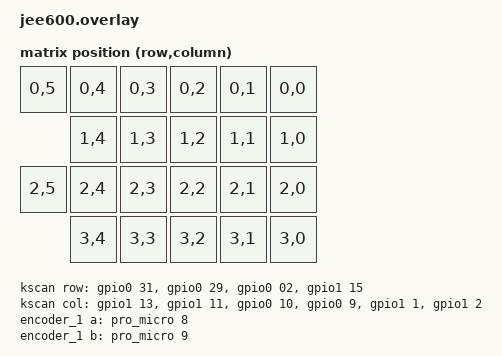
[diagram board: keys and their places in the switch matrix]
/*
 * Copyright (c) 2025 The ZMK Contributors
 *
 * SPDX-License-Identifier: MIT
 */

//================================================================================
//
//                           V-     USB     V+                      
//              D1   P0.06  PD3             RAW                     
//              D0   P0.08  PD2 L1       L2 GND                     
//                          GND             RST                     
//  encoder1_3              GND             VCC  P0.13+             
//              D2   P0.17  PD1  Nice!Nano  PF4  P0.31   D21        ROW 0
//  MOSI/MISO   D3   P0.20  PD0   v2 clone  PF5  P0.29   D20        ROW 1
//  SCK         D4   P0.22  PD4  (top view) PF6  P0.02   D19        ROW 2
//  CS          D5   P0.24  PC6             PF7  P1.15   D18        ROW 3
//  MOT         D6   P1.00  PD7             PB1  P1.13   D15        COL 0
//              D7   P0.11  PE6             PB3  P1.11   D14        COL 1
//  encoder1_1  D8   P1.04  PB4    O O O    PB2  P0.10   D16        COL 2
//  encoder1_2  D9   P1.06  PB5    | | |    PB6  P0.09   D10        COL 3
//                                 | | |                            
//                   P1.01     ____| | |    &gpio1 1                COL 4
//                   P1.02     ______| |    &gpio1 2                COL 5
//                   P1.07     ________|    &gpio1 7                
//  L1 (LED1)        P0.15                                          
//  L2 (LED2)        charging                                       
//  SET HIGH TO OFF  P0.13+                                         
//
// According to: https://www.reddit.com/r/olkb/comments/17w0opn/nicenano_pinout/
// MOSI, SCK must be on high-frequency pins (D1-D7), while CS may be on any pin
//
//     PWM3610 Module 20240425
//     https://www.aliexpress.com/item/1005006913778101.html
//
//                             
//                         , - + + + - ,
//                     , '       o       ' ,
//                   ,        +-----+        ,
//                  ,SDIO-O   | PWM |         ,      A - VDDIO  
//                 , SCLK-O   | 361 |     A B  ,     B - GND    
//                 ,  NCS-O   | 0DM |     C D  ,     C - VDD    (1.7 - 6V input)
//                 , NRES-O   | SUD |          ,     D - GND    
//                  , MOT-O   |  U  |         ,
//                   ,        +-----+        ,
//                     ,         o        , '
//                       ' - , _ _ _ ,  '
//
//  According to https://www.reddit.com/r/ErgoMechKeyboards/comments/1h0zy8n/help_which_nicenane_pins_to_connect_to_this/
//  SDIO - main IO pin (MOSI/MISO)
//  SCLK - SCK
//  NCS  - cs-gpios
//  MOT  - irq-gpios
//
//
//        Encoder (metal outer shell forward, clips backward)
//
//        _______
//       |3332 2 |
//      |33      2|
//      |3   O    |
//      |1       2|
//      |__1_1_1__|
//        |  |  |
// GND ___|  |  |         constant
// 1   ______|  |    D8   alternating
// 2   _________|    D9   alternating
//
//
//  Side panel (outside view):                                                   5 4 3 2 1 0
//                                                                               ___________
//                        [A]:c2r0   [B]:c1r0   [C]:c0r0                      0 |v w x A B C     v: RMB
//             [D]:c4r1   [E]:c3r1   [F]:c2r1   [G]:c1r1   [H]:c0r1      -\   1 |y D E F G H     w: MMB (button)
//  [I]:c5r2   [J]:c4r2   [K]:c3r2   [L]:c2r2   [M]:c1r2   [N]:c0r2      -/   2 |I J K L M N     x: LMB
//  [O]:c4r3   [P]:c3r3   [Q]:c2r3   [R]:c1r3   [S]:c0r3                      3 |z O P Q R S     y: MMB (wheel)
//                                                                                               z: _
//
//  row 0: P0.31   col 0: P1.13   col 4: P1.01
//  row 1: P0.29   col 1: P1.11   col 5: P1.02
//  row 2: P0.02   col 2: P0.10
//  row 3: P1.15   col 3: P0.09
//
//================================================================================

#include <dt-bindings/zmk/matrix_transform.h>

#define INPUT_EV_KEY 0x01               /**< Key event */
#define INPUT_EV_REL 0x02               /**< Relative coordinate event */
#define INPUT_EV_ABS 0x03               /**< Absolute coordinate event */
#define INPUT_EV_MSC 0x04               /**< Miscellaneous event */
#define INPUT_EV_VENDOR_START 0xf0      /**< Vendor specific event start */
#define INPUT_EV_VENDOR_STOP 0xff       /**< Vendor specific event stop */

#define INPUT_REL_X 0x00                /**< Relative X coordinate */
#define INPUT_REL_Y 0x01                /**< Relative Y coordinate */
#define INPUT_REL_WHEEL 0x08            /**< Relative wheel coordinate */
#define INPUT_REL_HWHEEL 0x06           /**< Relative horizontal wheel coordinate */
#define INPUT_REL_MISC 0x09             /**< Relative misc coordinate */

/ {
	chosen {
		zmk,kscan = &kscan;
		zmk,matrix_transform = &transform;
	};
	
	kscan: kscan {
		compatible = "zmk,kscan-gpio-matrix";
		label = "KSCAN";
		diode-direction = "col2row";
		wakeup-source;
		
		row-gpios = <&gpio0     31 (GPIO_ACTIVE_HIGH | GPIO_PULL_DOWN)>,
		            <&gpio0     29 (GPIO_ACTIVE_HIGH | GPIO_PULL_DOWN)>,
					<&gpio0     02 (GPIO_ACTIVE_HIGH | GPIO_PULL_DOWN)>,
					<&gpio1     15 (GPIO_ACTIVE_HIGH | GPIO_PULL_DOWN)>;
		
		col-gpios = <&gpio1     13 GPIO_ACTIVE_HIGH>,
					<&gpio1     11 GPIO_ACTIVE_HIGH>,
					<&gpio0     10 GPIO_ACTIVE_HIGH>,
					<&gpio0      9 GPIO_ACTIVE_HIGH>,
					<&gpio1      1 GPIO_ACTIVE_HIGH>,
					<&gpio1      2 GPIO_ACTIVE_HIGH>;
		
		// example: <&gpio1      2 GPIO_ACTIVE_HIGH>,
	};
	
	encoder_1: encoder_1 {
		compatible = "alps,ec11";
		a-gpios = <&pro_micro 8 (GPIO_ACTIVE_LOW | GPIO_PULL_UP)>;
		b-gpios = <&pro_micro 9 (GPIO_ACTIVE_LOW | GPIO_PULL_UP)>;
		steps = <20>;
		status = "okay";
	};
	
	transform: matrix_transform {
		compatible = "zmk,matrix-transform";
		rows = <1>;
		columns = <4>;
		
		map = <
				RC(0, 5) RC(0, 4) RC(0, 3) RC(0, 2) RC(0, 1) RC(0, 0)
				         RC(1, 4) RC(1, 3) RC(1, 2) RC(1, 1) RC(1, 0)
				RC(2, 5) RC(2, 4) RC(2, 3) RC(2, 2) RC(2, 1) RC(2, 0)    
				         RC(3, 4) RC(3, 3) RC(3, 2) RC(3, 1) RC(3, 0)    
		>;
	};
	
	trackball_listener {
		compatible = "zmk,input-listener";
		device = <&trackball>;
	};	
};

&pinctrl {
    spi0_default: spi0_default {
        group1 {
            psels = <NRF_PSEL(SPIM_SCK,  0, 22)>,
					<NRF_PSEL(SPIM_MOSI, 0, 20)>,
					<NRF_PSEL(SPIM_MISO, 0, 20)>;
        };
    };

    spi0_sleep: spi0_sleep {
        group1 {
            psels = <NRF_PSEL(SPIM_SCK,  0, 22)>,
					<NRF_PSEL(SPIM_MOSI, 0, 20)>,
					<NRF_PSEL(SPIM_MISO, 0, 20)>;
            low-power-enable;
        };
    };
};

&spi0 {
    status = "okay";
    compatible = "nordic,nrf-spim";
    pinctrl-0 = <&spi0_default>;
    pinctrl-1 = <&spi0_sleep>;
    pinctrl-names = "default", "sleep";
    cs-gpios = <&gpio0 24 GPIO_ACTIVE_LOW>; // chip select (CS)

    trackball: trackball@0 {
        status = "okay";
        compatible = "pixart,pmw3610";
        reg = <0>;
        spi-max-frequency = <2000000>;
        irq-gpios = <&gpio1 00 (GPIO_ACTIVE_LOW | GPIO_PULL_UP)>;
    };
};
